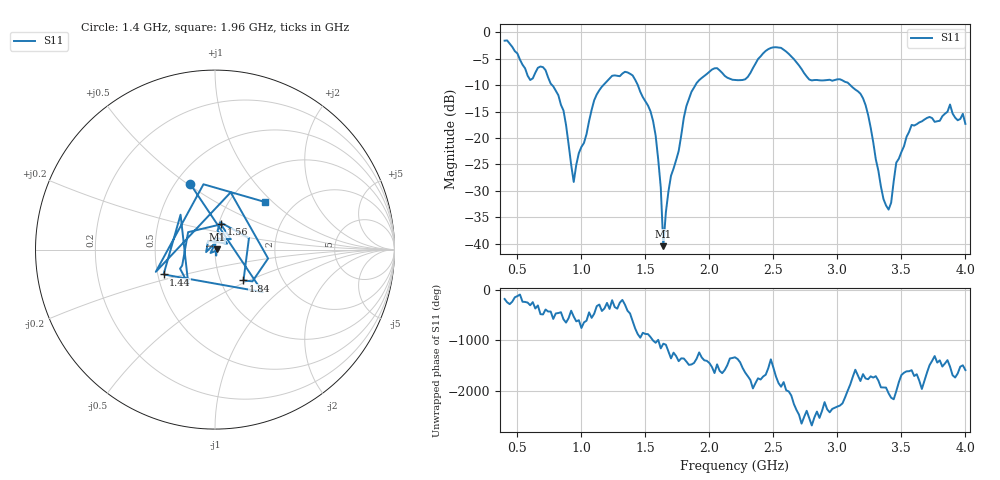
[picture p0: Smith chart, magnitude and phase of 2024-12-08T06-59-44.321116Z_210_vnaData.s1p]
!Created with skrf (http://scikit-rf.org).
# Hz S RI R 50.0
!freq ReS11 ImS11
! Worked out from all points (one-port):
!   181 points, 400 MHz to 4 GHz, reference 50 ohm
!   lowest |S11| = -40.5 dB at 1.64 GHz (marker M1), VSWR 1.02, Z = 50.9 + j0.237 ohm
!   |S11| at or under -10 dB: 771.2 MHz to 1.171 GHz (400.2 MHz wide, 41.2 % of centre); 1.441 GHz to 1.891 GHz (450.1 MHz wide, 27 % of centre); 3.101 GHz to end of sweep
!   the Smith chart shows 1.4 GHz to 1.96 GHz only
!   S11 on the Smith chart (normalised r, x): 1.4 GHz: 0.59, +0.51; 1.44 GHz: 0.54, -0.17; 1.56 GHz: 1.03, +0.29; 1.84 GHz: 1.28, -0.47; 1.96 GHz: 1.45, +0.90
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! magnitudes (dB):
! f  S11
! 400 MHz  -1.6
! 600 MHz  -9.0
! 720 MHz  -7.2
! 860 MHz  -14.8
! 940 MHz  -28.3
! 1.1 GHz  -12.8
! 1.3 GHz  -8.3
! 1.4 GHz  -8.2
! 1.44 GHz  -9.9
! 1.56 GHz  -16.8
! 1.62 GHz  -29.4
! 1.64 GHz  -40.5
! 1.68 GHz  -30.1
! 1.76 GHz  -22.5
! 1.84 GHz  -12.6
! 1.96 GHz  -8.3
! 2.2 GHz  -9.0
! 2.48 GHz  -3.0
! 2.66 GHz  -5.1
! 2.78 GHz  -8.9
! 3.1 GHz  -10.0
! 3.22 GHz  -13.8
! 3.36 GHz  -31.6
! 3.4 GHz  -33.5
! 3.46 GHz  -24.7
! 3.56 GHz  -18.8
! 3.88 GHz  -13.7
! 4 GHz  -17.3
